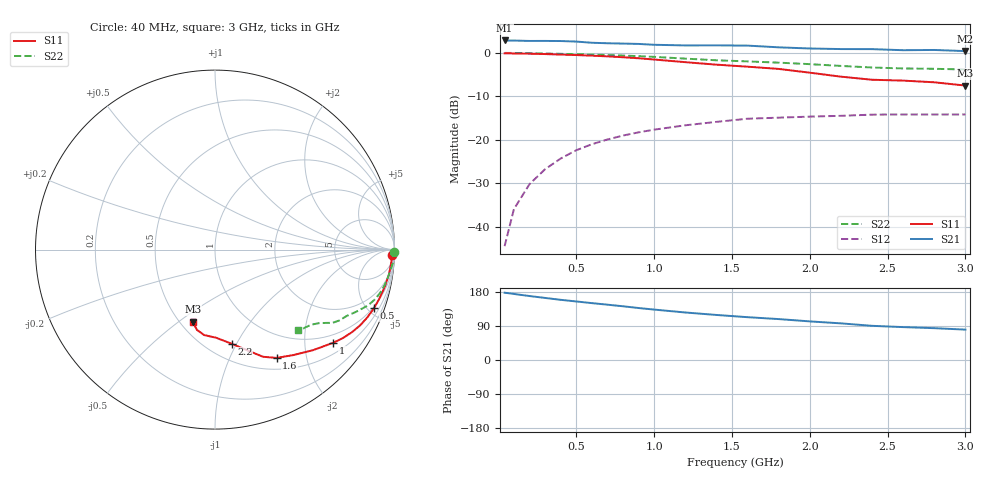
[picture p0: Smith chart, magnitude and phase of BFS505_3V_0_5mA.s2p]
! Filename:  BFS505A.S2P  Version:  4.0
! Philips part #: BFS505  Date: Jun 1994
! Bias condition: Vce=3V, Ic=0.5mA
#  MHz  S  MA  R  50
! Freq  S11  S21  S12  S22  !GUM [dB]
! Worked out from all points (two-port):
!   21 points, 40 MHz to 3 GHz, reference 50 ohm
!   highest |S21| = 2.85 dB at 40 MHz (marker M1); lowest = 0.4 dB at 3 GHz (marker M2)
!   |S21| within 3 dB of the highest: start of sweep to end of sweep
!   lowest |S11| = -7.5 dB at 3 GHz (marker M3), VSWR 2.45, Z = 28.8 - j28.2 ohm
!   |S11| at or under -10 dB: nowhere
!   |S22| runs from -3.8 to 0.0 dB; largest |S21 - S12| = 1.4
!   S11 on the Smith chart (normalised r, x): 40 MHz: 25, -56; 500 MHz: 0.90, -5.44; 1 GHz: 0.77, -2.69; 1.6 GHz: 0.65, -1.52; 2.2 GHz: 0.65, -0.96; 3 GHz: 0.58, -0.56
40  0.987 -1.7  1.389 177.6  0.006 88.4  0.999 -0.9
100  0.985 -4.0  1.385 174.3  0.016 85.8  0.998 -2.3
200  0.979 -8.2  1.371 168.8  0.031 82.1  0.992 -4.6
300  0.969 -12.2  1.372 163.8  0.046 79.0  0.983 -7.0
400  0.956 -16.5  1.368 158.8  0.061 76.5  0.975 -9.3
500  0.944 -20.3  1.349 154.5  0.076 73.8  0.966 -11.7
600  0.929 -24.0  1.307 150.1  0.089 71.4  0.957 -13.7
700  0.912 -27.6  1.29 146.0  0.101 69.1  0.944 -15.7
800  0.891 -31.1  1.279 141.8  0.112 66.8  0.931 -17.5
900  0.867 -34.6  1.267 137.2  0.122 64.2  0.917 -19.0
1000  0.839 -38.2  1.239 133.1  0.131 61.6  0.9 -20.6
1200  0.782 -45.8  1.218 125.4  0.147 56.4  0.859 -23.8
1400  0.732 -53.4  1.22 118.9  0.161 52.9  0.822 -26.7
1600  0.694 -60.4  1.212 113.0  0.175 49.7  0.798 -29.6
1800  0.654 -65.9  1.158 108.0  0.18 47.3  0.772 -31.9
2000  0.592 -71.9  1.123 101.9  0.185 45.0  0.742 -33.4
2200  0.533 -79.9  1.106 96.7  0.189 43.0  0.708 -35.4
2400  0.491 -89.3  1.104 90.2  0.195 41.0  0.679 -38.1
2600  0.48 -97.2  1.073 86.8  0.196 39.7  0.662 -41.2
2800  0.459 -102.6  1.08 84.0  0.196 40.6  0.656 -43.2
3000  0.421 -107.2  1.048 80.2  0.196 41.2  0.644 -44.3
